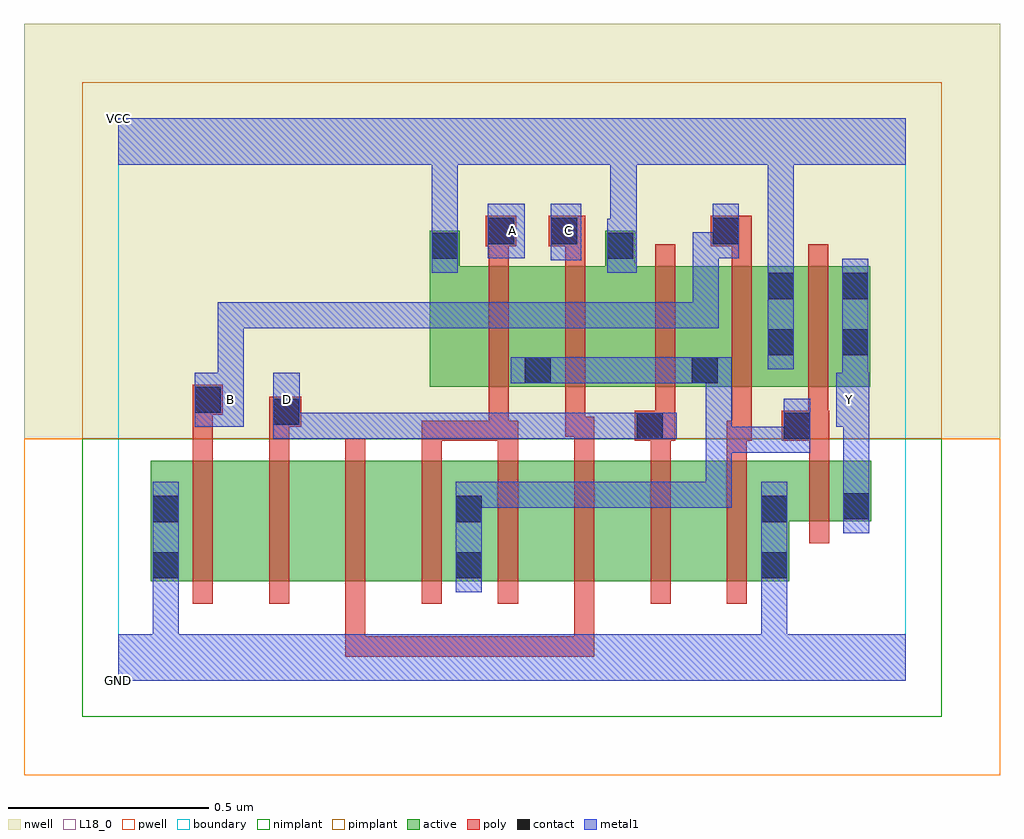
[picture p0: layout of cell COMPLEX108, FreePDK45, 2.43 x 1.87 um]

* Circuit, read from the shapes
.subckt COMPLEX108 A B C D GND VCC Y
M1 n1 B GND VSUBS nfet w=0.3u l=0.05u
M2 n2 D n1 VSUBS nfet w=0.3u l=0.05u
M3 n3 C n2 VSUBS nfet w=0.3u l=0.05u
M4 n4 A n3 VSUBS nfet w=0.3u l=0.05u
M5 n5 A n4 VSUBS nfet w=0.3u l=0.05u
M6 n6 C n5 VSUBS nfet w=0.3u l=0.05u
M7 n7 D n6 VSUBS nfet w=0.3u l=0.05u
M8 GND B n7 VSUBS nfet w=0.3u l=0.05u
M9 Y n4 GND VSUBS nfet w=0.15u l=0.05u
M10 n4 A VCC n8 pfet w=0.3u l=0.05u
M11 VCC C n4 n8 pfet w=0.3u l=0.05u
M12 n4 D VCC n8 pfet w=0.3u l=0.05u
M13 VCC B n4 n8 pfet w=0.3u l=0.05u
M14 Y n4 VCC n8 pfet w=0.3u l=0.05u
.ends

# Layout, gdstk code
import gdstk
lib = gdstk.Library(unit=1e-6, precision=1e-09)
def R(c, l, rs):  # rectangles x0, y0, x1, y1
    for r in rs: c.add(gdstk.rectangle(r[:2], r[2:], *l))
def A(c, l, x, y, w, h, nx, ny, dx, dy):  # array of equal rectangles
    R(c, l, [(x+i*dx, y+j*dy, x+i*dx+w, y+j*dy+h) for i in range(nx) for j in range(ny)])
active = (1, 0)
pwell = (2, 0)
nwell = (3, 0)
nimplant = (4, 0)
pimplant = (5, 0)
poly = (9, 0)
contact = (10, 0)
metal1 = (11, 0)
L18_0 = (18, 0)
boundary = (235, 0)

complex108 = lib.new_cell('COMPLEX108')
R(complex108, active, [(0.08,0.247,0.155,0.547), (0.08,0.247,0.305,0.547), (0.305,0.247,0.495,0.547), (0.495,0.247,0.685,0.547), (0.685,0.247,0.91,0.547), (0.835,0.247,1.065,0.547), (0.835,0.247,0.91,0.517), (1.065,0.247,1.255,0.547), (1.255,0.247,1.445,0.547), (1.445,0.247,1.67,0.547), (1.595,0.247,1.67,0.547), (1.595,0.397,1.875,0.547), (1.8,0.397,1.875,0.547), (0.775,0.732,1.082,1.032), (0.775,0.732,0.85,1.12), (1.007,0.732,1.287,1.032), (1.212,0.732,1.497,1.032), (1.422,0.732,1.687,1.032), (1.612,0.732,1.872,1.032), (1.797,0.732,1.872,1.022), (1.007,0.735,1.082,0.897), (1.422,0.735,1.497,0.957), (1.612,0.762,1.687,1.032), (1.212,0.832,1.287,1.12)])
R(complex108, pwell, [(-0.235,-0.235,2.195,0.602)])
R(complex108, nwell, [(-0.235,0.602,2.195,1.635)])
R(complex108, nimplant, [(-0.09,-0.09,2.05,0.602)])
R(complex108, pimplant, [(-0.09,0.602,2.05,1.49)])
A(complex108, poly, 0.185, 0.192, 0.05, 0.41, 8, 1, 0.19, 0)
A(complex108, poly, 1.337, 0.677, 0.05, 0.41, 3, 1, 0.19, 0)
R(complex108, poly, [(0.565,0.06,0.615,0.242), (0.565,0.06,0.615,0.11), (0.565,0.06,0.615,0.11), (0.565,0.06,0.615,0.11), (0.565,0.06,0.832,0.11), (0.782,0.06,0.832,0.11), (0.782,0.06,0.832,0.11), (0.782,0.06,0.832,0.11), (0.782,0.06,0.99,0.11), (0.94,0.06,0.99,0.11), (0.94,0.06,1.185,0.11), (1.135,0.06,1.185,0.242), (1.135,0.06,1.185,0.11), (1.135,0.06,1.185,0.11), (1.135,0.06,1.185,0.11), (1.72,0.342,1.77,0.602), (0.185,0.552,0.235,0.712), (0.375,0.552,0.425,0.682), (0.755,0.552,0.805,0.647), (0.945,0.552,0.995,0.647), (1.135,0.552,1.185,0.657), (1.325,0.552,1.375,0.647), (1.515,0.552,1.565,0.647), (1.72,0.552,1.77,0.647), (0.755,0.597,0.805,0.647), (0.755,0.597,0.972,0.647), (0.922,0.597,0.972,0.727), (0.922,0.597,0.995,0.647), (0.922,0.597,0.972,0.647), (0.922,0.597,0.972,0.647), (1.285,0.597,1.387,0.672), (1.515,0.597,1.577,0.647), (1.527,0.597,1.577,0.727), (1.652,0.597,1.77,0.672), (1.112,0.607,1.162,0.727), (1.112,0.607,1.185,0.657), (1.337,0.622,1.387,0.727), (1.717,0.622,1.767,0.727), (0.375,0.632,0.455,0.707), (0.185,0.662,0.26,0.737), (0.922,0.677,0.972,1.087), (1.112,0.677,1.162,1.087), (0.922,1.037,0.972,1.132), (1.112,1.037,1.162,1.132), (1.527,1.037,1.577,1.132), (0.915,1.082,0.99,1.157), (1.072,1.082,1.162,1.157), (1.475,1.082,1.577,1.157)])
R(complex108, contact, [(0.085,0.255,0.15,0.32), (0.84,0.255,0.905,0.32), (1.6,0.255,1.665,0.32), (0.085,0.395,0.15,0.46), (0.84,0.395,0.905,0.46), (1.6,0.395,1.665,0.46), (1.805,0.402,1.87,0.467), (1.29,0.602,1.355,0.667), (1.657,0.602,1.722,0.667), (0.385,0.637,0.45,0.702), (0.19,0.667,0.255,0.732), (1.012,0.74,1.077,0.805), (1.427,0.74,1.492,0.805), (1.617,0.81,1.682,0.875), (1.802,0.81,1.867,0.875), (1.617,0.95,1.682,1.015), (1.802,0.95,1.867,1.015), (0.78,1.05,0.845,1.115), (1.217,1.05,1.282,1.115), (0.92,1.087,0.985,1.152), (1.077,1.087,1.142,1.152), (1.48,1.087,1.545,1.152)])
R(complex108, metal1, [(0,0,1.96,0.115), (0.085,0.05,0.15,0.285), (1.6,0.05,1.665,0.285), (0.085,0.22,0.15,0.495), (0.085,0.22,0.15,0.285), (0.085,0.22,0.15,0.285), (0.84,0.22,0.905,0.495), (1.6,0.22,1.665,0.495), (1.6,0.22,1.665,0.285), (1.6,0.22,1.665,0.285), (1.805,0.367,1.87,0.502), (0.84,0.43,0.905,0.495), (0.84,0.43,0.905,0.495), (0.84,0.43,1.145,0.495), (1.08,0.43,1.145,0.495), (1.08,0.43,1.145,0.495), (1.08,0.43,1.145,0.495), (1.08,0.43,1.32,0.495), (1.255,0.43,1.32,0.495), (1.255,0.43,1.32,0.495), (1.255,0.43,1.32,0.495), (1.255,0.43,1.527,0.495), (1.462,0.43,1.527,0.495), (1.462,0.43,1.527,0.632), (1.805,0.437,1.87,0.697), (1.462,0.567,1.527,0.632), (1.462,0.567,1.527,0.632), (1.462,0.567,1.527,0.632), (1.462,0.567,1.715,0.632), (1.462,0.567,1.527,0.805), (1.65,0.567,1.722,0.632), (1.65,0.567,1.715,0.632), (1.657,0.567,1.722,0.702), (0.385,0.602,0.452,0.767), (0.387,0.602,0.452,0.667), (0.387,0.602,0.452,0.667), (0.387,0.602,0.59,0.667), (0.525,0.602,0.59,0.667), (0.525,0.602,0.59,0.667), (0.525,0.602,0.59,0.667), (0.525,0.602,0.745,0.667), (0.68,0.602,0.745,0.667), (0.68,0.602,0.745,0.667), (0.68,0.602,0.745,0.667), (0.68,0.602,0.882,0.667), (0.817,0.602,0.882,0.667), (0.817,0.602,1.042,0.667), (0.977,0.602,1.042,0.667), (0.977,0.602,1.042,0.667), (0.977,0.602,1.042,0.667), (0.977,0.602,1.32,0.667), (1.255,0.602,1.32,0.667), (1.255,0.602,1.32,0.667), (1.255,0.602,1.39,0.667), (0.19,0.632,0.312,0.767), (1.787,0.632,1.87,0.767), (0.247,0.702,0.312,0.767), (0.247,0.702,0.312,0.767), (0.247,0.702,0.312,0.942), (1.802,0.702,1.867,0.84), (0.977,0.74,1.112,0.805), (1.047,0.74,1.112,0.805), (1.047,0.74,1.112,0.805), (1.047,0.74,1.32,0.805), (1.255,0.74,1.32,0.805), (1.255,0.74,1.32,0.805), (1.255,0.74,1.32,0.805), (1.255,0.74,1.457,0.805), (1.392,0.74,1.527,0.805), (1.617,0.775,1.682,1.05), (1.802,0.775,1.867,1.05), (0.247,0.877,0.312,0.942), (0.247,0.877,0.45,0.942), (0.385,0.877,0.45,0.942), (0.385,0.877,0.45,0.942), (0.385,0.877,0.45,0.942), (0.385,0.877,0.607,0.942), (0.542,0.877,0.607,0.942), (0.542,0.877,0.607,0.942), (0.542,0.877,0.607,0.942), (0.542,0.877,0.745,0.942), (0.68,0.877,0.745,0.942), (0.68,0.877,0.882,0.942), (0.817,0.877,0.882,0.942), (0.817,0.877,0.882,0.942), (0.817,0.877,0.882,0.942), (0.817,0.877,0.882,0.942), (0.817,0.877,0.882,0.942), (0.817,0.877,1.145,0.942), (1.08,0.877,1.145,0.942), (1.08,0.877,1.145,0.942), (1.08,0.877,1.145,0.942), (1.08,0.877,1.32,0.942), (1.255,0.877,1.32,0.942), (1.255,0.877,1.32,0.942), (1.255,0.877,1.32,0.942), (1.255,0.877,1.495,0.942), (1.43,0.877,1.495,0.942), (1.43,0.877,1.495,1.117), (1.617,0.985,1.682,1.05), (1.617,0.985,1.682,1.05), (1.617,0.985,1.682,1.05), (1.617,0.985,1.682,1.05), (1.617,0.985,1.682,1.35), (0.78,1.015,0.845,1.15), (1.217,1.015,1.29,1.15), (1.077,1.047,1.152,1.187), (0.92,1.052,1.012,1.187), (1.43,1.052,1.495,1.117), (1.43,1.052,1.495,1.117), (1.43,1.052,1.495,1.117), (1.43,1.052,1.545,1.117), (1.48,1.052,1.545,1.187), (0.78,1.085,0.845,1.35), (1.225,1.085,1.29,1.15), (1.225,1.085,1.29,1.15), (1.225,1.085,1.29,1.15), (1.225,1.085,1.29,1.15), (1.225,1.085,1.29,1.35), (0,1.285,1.96,1.4), (0.78,1.285,0.845,1.35), (0.78,1.285,0.845,1.35), (0.78,1.285,0.845,1.35), (0.78,1.285,0.845,1.35)])
R(complex108, L18_0, [(0,0,1.96,0.115), (0.085,0.05,0.15,0.285), (1.6,0.05,1.665,0.285), (0.085,0.22,0.15,0.285), (0.085,0.22,0.15,0.285), (0.085,0.22,0.15,0.495), (1.6,0.22,1.665,0.285), (1.6,0.22,1.665,0.285), (1.6,0.22,1.665,0.495), (1.805,0.367,1.87,0.502), (1.805,0.437,1.87,0.697), (0.385,0.602,0.452,0.767), (0.387,0.602,0.452,0.667), (0.387,0.602,0.452,0.667), (0.387,0.602,0.59,0.667), (0.525,0.602,0.59,0.667), (0.525,0.602,0.59,0.667), (0.525,0.602,0.59,0.667), (0.525,0.602,0.745,0.667), (0.68,0.602,0.745,0.667), (0.68,0.602,0.745,0.667), (0.68,0.602,0.745,0.667), (0.68,0.602,0.882,0.667), (0.817,0.602,0.882,0.667), (0.817,0.602,1.042,0.667), (0.977,0.602,1.042,0.667), (0.977,0.602,1.042,0.667), (0.977,0.602,1.042,0.667), (0.977,0.602,1.32,0.667), (1.255,0.602,1.32,0.667), (1.255,0.602,1.32,0.667), (1.255,0.602,1.39,0.667), (0.19,0.632,0.312,0.767), (1.787,0.632,1.87,0.767), (0.247,0.667,0.312,0.732), (0.387,0.667,0.452,0.732), (1.787,0.667,1.852,0.732), (0.247,0.702,0.312,0.767), (0.247,0.702,0.312,0.767), (0.247,0.702,0.312,0.942), (1.802,0.702,1.867,0.84), (1.617,0.775,1.682,1.05), (1.802,0.775,1.867,1.05), (0.247,0.877,0.312,0.942), (0.247,0.877,0.45,0.942), (0.385,0.877,0.45,0.942), (0.385,0.877,0.45,0.942), (0.385,0.877,0.45,0.942), (0.385,0.877,0.607,0.942), (0.542,0.877,0.607,0.942), (0.542,0.877,0.607,0.942), (0.542,0.877,0.607,0.942), (0.542,0.877,0.745,0.942), (0.68,0.877,0.745,0.942), (0.68,0.877,0.882,0.942), (0.817,0.877,0.882,0.942), (0.817,0.877,0.882,0.942), (0.817,0.877,0.882,0.942), (0.817,0.877,0.882,0.942), (0.817,0.877,0.882,0.942), (0.817,0.877,1.145,0.942), (1.08,0.877,1.145,0.942), (1.08,0.877,1.145,0.942), (1.08,0.877,1.145,0.942), (1.08,0.877,1.32,0.942), (1.255,0.877,1.32,0.942), (1.255,0.877,1.32,0.942), (1.255,0.877,1.32,0.942), (1.255,0.877,1.495,0.942), (1.43,0.877,1.495,0.942), (1.43,0.877,1.495,1.117), (1.617,0.985,1.682,1.05), (1.617,0.985,1.682,1.05), (1.617,0.985,1.682,1.05), (1.617,0.985,1.682,1.05), (1.617,0.985,1.682,1.35), (0.78,1.015,0.845,1.15), (1.217,1.015,1.29,1.15), (1.077,1.047,1.152,1.187), (0.92,1.052,1.012,1.187), (1.43,1.052,1.495,1.117), (1.43,1.052,1.495,1.117), (1.43,1.052,1.495,1.117), (1.43,1.052,1.545,1.117), (1.48,1.052,1.545,1.187), (0.78,1.085,0.845,1.35), (1.225,1.085,1.29,1.15), (1.225,1.085,1.29,1.15), (1.225,1.085,1.29,1.15), (1.225,1.085,1.29,1.15), (1.225,1.085,1.29,1.35), (0.947,1.087,1.012,1.152), (1.087,1.087,1.152,1.152), (0,1.285,1.96,1.4), (0.78,1.285,0.845,1.35), (0.78,1.285,0.845,1.35), (0.78,1.285,0.845,1.35), (0.78,1.285,0.845,1.35)])
R(complex108, boundary, [(0,0,1.96,1.4)])
complex108.add(gdstk.Label('A', (0.98,1.12), layer=11, texttype=0))
complex108.add(gdstk.Label('B', (0.28,0.7), layer=11, texttype=0))
complex108.add(gdstk.Label('C', (1.12,1.12), layer=11, texttype=0))
complex108.add(gdstk.Label('D', (0.42,0.7), layer=11, texttype=0))
complex108.add(gdstk.Label('Y', (1.82,0.7), layer=11, texttype=0))
complex108.add(gdstk.Label('VCC', (0,1.4), layer=11, texttype=0))
complex108.add(gdstk.Label('GND', (0,0), layer=11, texttype=0))

lib.write_gds('COMPLEX108.gds')
